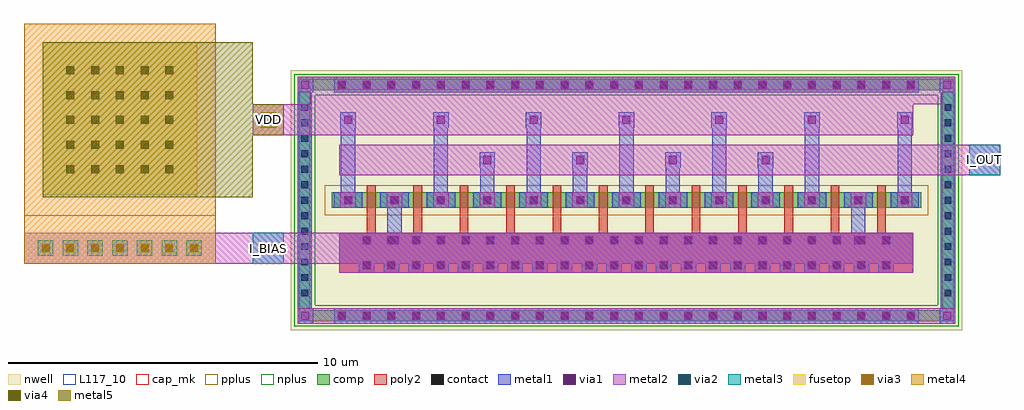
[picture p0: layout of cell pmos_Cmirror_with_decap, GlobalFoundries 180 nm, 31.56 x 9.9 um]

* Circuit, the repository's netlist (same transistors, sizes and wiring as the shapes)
* NGSPICE file created from pmos_Cmirror_with_decap_layout.ext - technology: gf180mcuD

.subckt Unnamed_ad0e3c17 m4_n620_n620# m4_n500_n500#
X0 m4_n500_n500# m4_n620_n620# cap_mim_2f0_m4m5_noshield c_width=5u c_length=5u
.ends

.subckt cmirror_interdigitized a_n1022_n50# w_n2172_n840# a_n1856_n470#
X0 w_n2172_n840# a_n1856_n470# a_n1022_n50# w_n2172_n840# pfet_03v3 ad=0.305p pd=1.72u as=0.305p ps=1.72u w=0.5u l=0.28u M=8
X1 w_n2172_n840# a_n1856_n470# a_n1856_n470# w_n2172_n840# pfet_03v3 ad=0.305p pd=1.72u as=0.305p ps=1.72u w=0.5u l=0.28u M=4
.ends

.subckt pmos_Cmirror_with_decap_layout I_BIAS I_OUT VDD
XUnnamed_ad0e3c17_0 I_BIAS VDD Unnamed_ad0e3c17
Xcmirror_interdigitized_0 I_OUT VDD I_BIAS cmirror_interdigitized
.ends

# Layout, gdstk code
import gdstk
lib = gdstk.Library(unit=1e-6, precision=5e-09)
def R(c, l, rs):  # rectangles x0, y0, x1, y1
    for r in rs: c.add(gdstk.rectangle(r[:2], r[2:], *l))
def A(c, l, x, y, w, h, nx, ny, dx, dy):  # array of equal rectangles
    R(c, l, [(x+i*dx, y+j*dy, x+i*dx+w, y+j*dy+h) for i in range(nx) for j in range(ny)])
def P(c, l, *ps):  # polygons
    for p in ps: c.add(gdstk.Polygon(p, *l))
nwell = (21, 0)
comp = (22, 0)
poly2 = (30, 0)
pplus = (31, 0)
nplus = (32, 0)
contact = (33, 0)
metal1 = (34, 0)
via1 = (35, 0)
metal2 = (36, 0)
via2 = (38, 0)
via3 = (40, 0)
via4 = (41, 0)
metal3 = (42, 0)
metal4 = (46, 0)
fusetop = (75, 0)
metal5 = (81, 0)
cap_mk = (117, 5)
L117_10 = (117, 10)

cmirror_interdigitized = lib.new_cell('cmirror_interdigitized')
R(cmirror_interdigitized, nwell, [(-10.86,-4.2,10.86,4.2)])
A(cmirror_interdigitized, comp, -9.38, -3.92, 0.36, 0.36, 24, 2, 0.8, 7.48)
A(cmirror_interdigitized, comp, -10.58, -3.18, 0.36, 0.36, 1, 13, 0, 0.5)
A(cmirror_interdigitized, comp, 10.22, -3.18, 0.36, 0.36, 1, 13, 0, 0.5)
R(cmirror_interdigitized, comp, [(-9.38,-3.92,9.38,-3.56), (-10.58,-3.18,-10.22,3.18), (10.22,-3.18,10.58,3.18), (-9.53,-0.25,9.53,0.25), (-9.38,3.56,9.38,3.92)])
P(cmirror_interdigitized, comp, [(10.58,3.92),(-10.58,3.92),(-10.58,-3.56),(-10.22,-3.56),(-10.22,3.56),(10.22,3.56),(10.22,-3.56),(-10.22,-3.56),(-10.58,-3.56),(-10.58,-3.92),(10.58,-3.92)])
A(cmirror_interdigitized, poly2, -8.58, -2.28, 0.36, 0.36, 22, 2, 0.8, 0.8)
A(cmirror_interdigitized, poly2, -8.39, -1.05, 0.28, 0.56, 12, 1, 1.5, 0)
A(cmirror_interdigitized, poly2, -8.39, -0.49, 0.28, 0.98, 12, 1, 1.5, 0)
R(cmirror_interdigitized, poly2, [(-9.28,-2.35,9.28,-1.05)])
R(cmirror_interdigitized, pplus, [(-9.76,-0.48,9.76,0.48)])
P(cmirror_interdigitized, nplus, [(10.74,4.08),(-10.74,4.08),(-10.74,-3.4),(-10.06,-3.4),(-10.06,3.4),(10.06,3.4),(10.06,-3.4),(-10.06,-3.4),(-10.74,-3.4),(-10.74,-4.08),(10.74,-4.08)])
A(cmirror_interdigitized, contact, -9.31, -3.85, 0.22, 0.22, 24, 2, 0.8, 7.48)
A(cmirror_interdigitized, contact, -10.51, -3.11, 0.22, 0.22, 1, 13, 0, 0.5)
A(cmirror_interdigitized, contact, 10.29, -3.11, 0.22, 0.22, 1, 13, 0, 0.5)
A(cmirror_interdigitized, contact, -8.51, -2.21, 0.22, 0.22, 22, 2, 0.8, 0.8)
A(cmirror_interdigitized, contact, -9.11, -0.11, 0.22, 0.22, 13, 1, 1.5, 0)
A(cmirror_interdigitized, metal1, -9.45, -3.99, 0.5, 0.5, 24, 2, 0.8, 7.48)
A(cmirror_interdigitized, metal1, -10.63, -3.23, 0.46, 0.46, 1, 13, 0, 0.5)
A(cmirror_interdigitized, metal1, 10.17, -3.23, 0.46, 0.46, 1, 13, 0, 0.5)
A(cmirror_interdigitized, metal1, -8.65, -2.35, 0.5, 0.5, 22, 1, 0.8, 0)
A(cmirror_interdigitized, metal1, -7.05, -1.55, 0.5, 0.5, 18, 1, 0.8, 0)
A(cmirror_interdigitized, metal1, -9.46, -0.25, 0.92, 0.5, 13, 1, 1.5, 0)
A(cmirror_interdigitized, metal1, -9.23, -0.23, 0.46, 0.46, 13, 1, 1.5, 0)
A(cmirror_interdigitized, metal1, -9.23, 0.25, 0.46, 2.6, 7, 1, 3, 0)
A(cmirror_interdigitized, metal1, -4.73, 0.25, 0.46, 1.3, 4, 1, 3, 0)
A(cmirror_interdigitized, metal1, -4.75, 1.05, 0.5, 0.5, 4, 1, 3, 0)
A(cmirror_interdigitized, metal1, -9.25, 2.35, 0.5, 0.5, 7, 1, 3, 0)
R(cmirror_interdigitized, metal1, [(-10.63,-3.99,-10.13,-3.49), (-10.63,-3.99,-10.13,-3.49), (-10.63,-3.99,-10.17,-3.56), (-9.45,-3.99,9.45,-3.49), (10.13,-3.99,10.63,-3.49), (10.13,-3.99,10.63,-3.49), (10.17,-3.99,10.63,-3.56), (-10.63,-3.56,-10.17,3.56), (10.17,-3.56,10.63,3.56), (-9.28,-2.05,9.28,-1.05), (-8.65,-1.55,-8.15,-1.05), (-7.85,-1.55,-7.35,-1.05), (-7.75,-1.55,-7.25,-1.05), (7.25,-1.55,7.75,-1.05), (7.35,-1.55,7.85,-1.05), (8.15,-1.55,8.65,-1.05), (-7.73,-1.05,-7.27,-0.25), (7.27,-1.05,7.73,-0.25), (-9.25,-0.25,-8.75,0.25), (-9.25,-0.25,-8.75,0.25), (-7.75,-0.25,-7.25,0.25), (-7.75,-0.25,-7.25,0.25), (-6.25,-0.25,-5.75,0.25), (-6.25,-0.25,-5.75,0.25), (-4.75,-0.25,-4.25,0.25), (-4.75,-0.25,-4.25,0.25), (-3.25,-0.25,-2.75,0.25), (-3.25,-0.25,-2.75,0.25), (-1.75,-0.25,-1.25,0.25), (-1.75,-0.25,-1.25,0.25), (-0.25,-0.25,0.25,0.25), (-0.25,-0.25,0.25,0.25), (1.25,-0.25,1.75,0.25), (1.25,-0.25,1.75,0.25), (2.75,-0.25,3.25,0.25), (2.75,-0.25,3.25,0.25), (4.25,-0.25,4.75,0.25), (4.25,-0.25,4.75,0.25), (5.75,-0.25,6.25,0.25), (5.75,-0.25,6.25,0.25), (7.25,-0.25,7.75,0.25), (7.25,-0.25,7.75,0.25), (8.75,-0.25,9.25,0.25), (8.75,-0.25,9.25,0.25), (-10.63,3.49,-10.13,3.99), (-10.63,3.49,-10.13,3.99), (-9.45,3.49,9.45,3.99), (10.13,3.49,10.63,3.99), (10.13,3.49,10.63,3.99), (-10.63,3.56,-10.17,3.99), (10.17,3.56,10.63,3.99)])
A(cmirror_interdigitized, via1, -9.33, -3.87, 0.26, 0.26, 24, 2, 0.8, 7.48)
A(cmirror_interdigitized, via1, -8.53, -2.23, 0.26, 0.26, 22, 1, 0.8, 0)
A(cmirror_interdigitized, via1, -6.93, -1.43, 0.26, 0.26, 18, 1, 0.8, 0)
A(cmirror_interdigitized, via1, -9.13, -0.13, 0.26, 0.26, 13, 1, 1.5, 0)
A(cmirror_interdigitized, via1, -4.63, 1.17, 0.26, 0.26, 4, 1, 3, 0)
A(cmirror_interdigitized, via1, -9.13, 2.47, 0.26, 0.26, 7, 1, 3, 0)
R(cmirror_interdigitized, via1, [(-10.51,-3.87,-10.25,-3.61), (10.25,-3.87,10.51,-3.61), (-8.53,-1.43,-8.27,-1.17), (-7.73,-1.43,-7.47,-1.17), (-7.63,-1.43,-7.37,-1.17), (7.37,-1.43,7.63,-1.17), (7.47,-1.43,7.73,-1.17), (8.27,-1.43,8.53,-1.17), (-10.51,3.61,-10.25,3.87), (10.25,3.61,10.51,3.87)])
A(cmirror_interdigitized, metal2, -9.45, -3.99, 0.5, 0.5, 24, 2, 0.8, 7.48)
A(cmirror_interdigitized, metal2, -8.65, -2.35, 0.5, 0.5, 22, 1, 0.8, 0)
A(cmirror_interdigitized, metal2, -7.05, -1.55, 0.5, 0.5, 18, 1, 0.8, 0)
A(cmirror_interdigitized, metal2, -4.75, 1.05, 0.5, 0.5, 4, 1, 3, 0)
A(cmirror_interdigitized, metal2, -9.25, 2.35, 0.5, 0.5, 7, 1, 3, 0)
R(cmirror_interdigitized, metal2, [(-10.63,-3.99,-10.13,-3.49), (-10.63,-3.99,-10.13,-3.49), (-10.63,-3.99,-10.22,-3.49), (-10.22,-3.99,10.22,-3.49), (10.13,-3.99,10.63,-3.49), (10.13,-3.99,10.63,-3.49), (10.22,-3.99,10.63,-3.49), (-9.28,-2.35,9.28,-1.05), (-9.28,-2.05,9.28,-1.05), (-8.65,-1.55,-8.15,-1.05), (-7.85,-1.55,-7.35,-1.05), (-7.75,-1.55,-7.25,-1.05), (7.25,-1.55,7.75,-1.05), (7.35,-1.55,7.85,-1.05), (8.15,-1.55,8.65,-1.05), (-9.25,-0.25,-8.75,0.25), (-9.25,-0.25,-8.75,0.25), (-7.75,-0.25,-7.25,0.25), (-7.75,-0.25,-7.25,0.25), (-6.25,-0.25,-5.75,0.25), (-6.25,-0.25,-5.75,0.25), (-4.75,-0.25,-4.25,0.25), (-4.75,-0.25,-4.25,0.25), (-3.25,-0.25,-2.75,0.25), (-3.25,-0.25,-2.75,0.25), (-1.75,-0.25,-1.25,0.25), (-1.75,-0.25,-1.25,0.25), (-0.25,-0.25,0.25,0.25), (-0.25,-0.25,0.25,0.25), (1.25,-0.25,1.75,0.25), (1.25,-0.25,1.75,0.25), (2.75,-0.25,3.25,0.25), (2.75,-0.25,3.25,0.25), (4.25,-0.25,4.75,0.25), (4.25,-0.25,4.75,0.25), (5.75,-0.25,6.25,0.25), (5.75,-0.25,6.25,0.25), (7.25,-0.25,7.75,0.25), (7.25,-0.25,7.75,0.25), (8.75,-0.25,9.25,0.25), (8.75,-0.25,9.25,0.25), (-9.28,0.8,9.28,1.8), (-9.28,2.1,9.28,3.1), (-10.22,3.1,10.22,3.99), (-10.63,3.49,-10.13,3.99), (-10.63,3.49,-10.13,3.99), (-10.63,3.49,-10.22,3.99), (-10.22,3.49,10.22,3.99), (10.13,3.49,10.63,3.99), (10.13,3.49,10.63,3.99), (10.22,3.49,10.63,3.99)])

via_array_6f2c13fe = lib.new_cell('via_array_6f2c13fe')
R(via_array_6f2c13fe, metal2, [(-0.5,-0.5,0.5,0.5), (-0.25,-0.25,0.25,0.25)])
R(via_array_6f2c13fe, via2, [(-0.13,-0.13,0.13,0.13)])
R(via_array_6f2c13fe, metal3, [(-0.5,-0.5,0.5,0.5), (-0.25,-0.25,0.25,0.25)])

via_array_6f2c13fe_1 = lib.new_cell('via_array_6f2c13fe$1')
R(via_array_6f2c13fe_1, metal2, [(-0.5,-0.5,0.5,0.5), (-0.25,-0.25,0.25,0.25)])
R(via_array_6f2c13fe_1, via2, [(-0.13,-0.13,0.13,0.13)])
R(via_array_6f2c13fe_1, metal3, [(-0.5,-0.5,0.5,0.5), (-0.25,-0.25,0.25,0.25)])

via_array_3a42d9f3 = lib.new_cell('via_array_3a42d9f3')
R(via_array_3a42d9f3, metal2, [(-0.5,-0.5,0.5,0.5), (-0.25,-0.25,0.25,0.25)])
R(via_array_3a42d9f3, via2, [(-0.13,-0.13,0.13,0.13)])
R(via_array_3a42d9f3, via3, [(-0.13,-0.13,0.13,0.13)])
R(via_array_3a42d9f3, via4, [(-0.13,-0.13,0.13,0.13)])
R(via_array_3a42d9f3, metal3, [(-0.25,-0.25,0.25,0.25)])
R(via_array_3a42d9f3, metal4, [(-0.25,-0.25,0.25,0.25)])
R(via_array_3a42d9f3, metal5, [(-0.5,-0.5,0.5,0.5), (-0.25,-0.25,0.25,0.25)])

straight_route_7b7f78f7 = lib.new_cell('straight_route_7b7f78f7')
R(straight_route_7b7f78f7, metal2, [(-12.08,-2.05,-9.28,-1.05)])

straight_route_f39bba73 = lib.new_cell('straight_route_f39bba73')
R(straight_route_f39bba73, metal2, [(-9.28,0.8,11.08,1.8)])

straight_route_ff85bd25 = lib.new_cell('straight_route_ff85bd25')
R(straight_route_ff85bd25, metal2, [(-12.08,2.1,-9.28,3.1)])

unnamed_ad0e3c17 = lib.new_cell('Unnamed_ad0e3c17')
A(unnamed_ad0e3c17, via4, -1.73, -1.73, 0.26, 0.26, 5, 5, 0.8, 0.8)
R(unnamed_ad0e3c17, metal4, [(-3.1,-3.1,3.1,3.1)])
R(unnamed_ad0e3c17, fusetop, [(-2.5,-2.5,2.5,2.5)])
A(unnamed_ad0e3c17, metal5, -1.85, -1.85, 0.5, 0.5, 5, 5, 0.8, 0.8)
R(unnamed_ad0e3c17, metal5, [(-2.5,-2.5,2.5,2.5)])
R(unnamed_ad0e3c17, cap_mk, [(-3.1,-3.1,3.1,3.1)])
R(unnamed_ad0e3c17, L117_10, [(-2.5,-2.5,2.5,-2.4)])

straight_route_269c3185 = lib.new_cell('straight_route_269c3185')
R(straight_route_269c3185, metal5, [(-13.88,0.1,-12.08,5.1)])

l_route_fae7fe74 = lib.new_cell('L_route_fae7fe74')
A(l_route_fae7fe74, metal2, -19.03, -1.8, 0.5, 0.5, 7, 1, 0.8, 0)
R(l_route_fae7fe74, metal2, [(-19.48,-2.05,-12.08,-1.05), (-19.03,-1.8,-13.73,-1.3)])
A(l_route_fae7fe74, via2, -18.91, -1.68, 0.26, 0.26, 7, 1, 0.8, 0)
A(l_route_fae7fe74, via3, -18.91, -1.68, 0.26, 0.26, 7, 1, 0.8, 0)
A(l_route_fae7fe74, metal3, -19.03, -1.8, 0.5, 0.5, 7, 1, 0.8, 0)
A(l_route_fae7fe74, metal4, -19.03, -1.8, 0.5, 0.5, 7, 1, 0.8, 0)
R(l_route_fae7fe74, metal4, [(-19.48,-2.05,-13.28,-1.05), (-19.48,-2.05,-13.28,-0.5)])

pmos_cmirror_with_decap = lib.new_cell('pmos_Cmirror_with_decap')
pmos_cmirror_with_decap.add(gdstk.Reference(cmirror_interdigitized, (0,0)))
pmos_cmirror_with_decap.add(gdstk.Reference(via_array_6f2c13fe, (-11.58,-1.55)))
pmos_cmirror_with_decap.add(gdstk.Reference(via_array_6f2c13fe_1, (11.58,1.3)))
pmos_cmirror_with_decap.add(gdstk.Reference(via_array_3a42d9f3, (-11.58,2.6)))
pmos_cmirror_with_decap.add(gdstk.Reference(straight_route_7b7f78f7, (0,0)))
pmos_cmirror_with_decap.add(gdstk.Reference(straight_route_f39bba73, (0,0)))
pmos_cmirror_with_decap.add(gdstk.Reference(straight_route_ff85bd25, (0,0)))
pmos_cmirror_with_decap.add(gdstk.Reference(unnamed_ad0e3c17, (-16.38,2.6)))
pmos_cmirror_with_decap.add(gdstk.Reference(straight_route_269c3185, (0,0)))
pmos_cmirror_with_decap.add(gdstk.Reference(l_route_fae7fe74, (0,0)))
pmos_cmirror_with_decap.add(gdstk.Label('I_BIAS', (-11.58,-1.55), layer=42, texttype=10))
pmos_cmirror_with_decap.add(gdstk.Label('I_OUT', (11.58,1.3), layer=42, texttype=10))
pmos_cmirror_with_decap.add(gdstk.Label('VDD', (-11.58,2.6), layer=81, texttype=10))

lib.write_gds('pmos_Cmirror_with_decap.gds')
